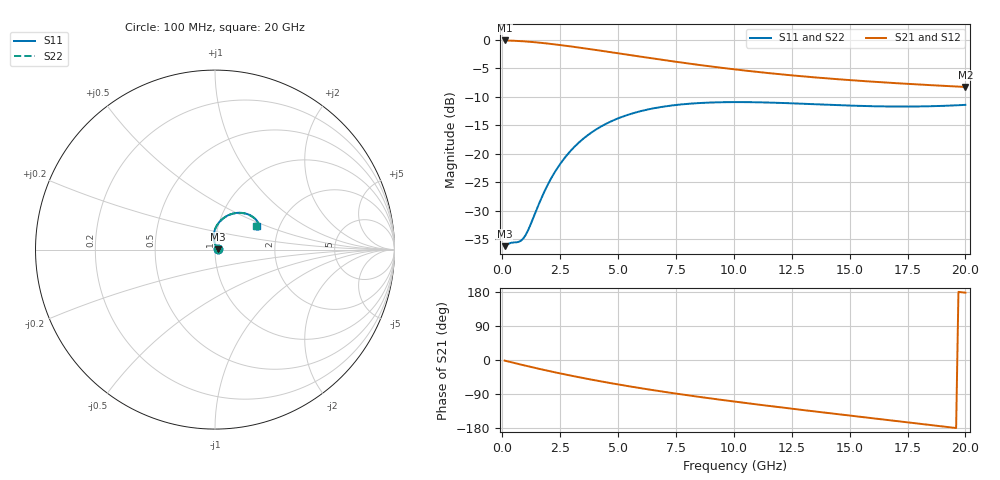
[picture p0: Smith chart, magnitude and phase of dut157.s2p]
! Touchstone file exported from HFSS 2024.1.0
!  File:  C:/UserFiles/LocalFiles/RDL_TSV_Batchsim/temp_RDL_TSV_157_1779433399.aedt
!  Generated:  03:21:00 PM May 22, 2026
!  Design:  RDL_TSV
!  Project:  temp_RDL_TSV_157_1779433399
!  Setup:  Setup1
!  Solution:  Sweep
! Variables:
!  dtsv = 6.52um
!  hbump = 3um
!  htsv = 98.33um
!  ldown = 412.06um
!  lrdl = 274.58um
!  p = 40
!  p1 = 44.89um
!  rhole = 10um
!  subl = 2334.5um
!  t = 450um
!  tdown = 2.64um
!  trdl = 3.55um
!  viad = 10um
!  wdown = 20.18um
!  wrdl = 20.6um
!  xbump = 18um
# GHz S MA R 50.000000
! Terminal data exported
! Port[1] = TM1_1_T1
! Port[2] = TM1_4_T1
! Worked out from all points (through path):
!   200 points, 100 MHz to 20 GHz, reference 50 ohm
!   highest |S21| = -0.14 dB at 100 MHz (marker M1); lowest = -8.3 dB at 20 GHz (marker M2)
!   group delay of S21, straight-line fit = 24 ps
!   lowest |S11| = -36.2 dB at 100 MHz (marker M3), VSWR 1.03, Z = 51.6 + j0.2 ohm
!   |S11| at or under -10 dB: start of sweep to end of sweep
!   |S22| runs from -36.2 to -11.0 dB; largest |S21 - S12| = 1.5e-14
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0.1  0.01542 7.2  0.9844 -1.6  0.9844 -1.6  0.01542 7.2
! Gamma 0 0 0 0
! Port Impedance 50 0 50 0
0.4  0.01653 23.5  0.9803 -6.1  0.9803 -6.1  0.01654 23.4
0.7  0.0168 41.3  0.9737 -10.6  0.9737 -10.6  0.01681 41.2
0.9  0.01794 56.8  0.9682 -13.5  0.9682 -13.5  0.01795 56.6
1.1  0.02099 71.7  0.9616 -16.4  0.9616 -16.4  0.02097 71.5
1.8  0.04563 95.3  0.9326 -26.2  0.9326 -26.2  0.04549 95.2
2.2  0.0653 96.3  0.9129 -31.5  0.9129 -31.5  0.06508 96.2
2.5  0.08122 94.9  0.8972 -35.4  0.8972 -35.4  0.08094 94.8
2.8  0.09756 92.6  0.8811 -39.2  0.8811 -39.2  0.09722 92.5
3.5  0.1353 85.4  0.8423 -47.7  0.8423 -47.7  0.1348 85.4
4.2  0.17 77.7  0.8034 -55.8  0.8034 -55.8  0.1694 77.7
4.9  0.2001 70.3  0.7653 -63.4  0.7653 -63.4  0.1994 70.2
5.8  0.2309 61.5  0.7186 -72.6  0.7186 -72.6  0.2301 61.5
6.8  0.2555 53.1  0.6706 -82.3  0.6706 -82.3  0.2545 53.0
8.4  0.2771 42.3  0.604 -96.4  0.604 -96.4  0.276 42.2
10.1  0.2834 34.0  0.5469 -110.3  0.5469 -110.3  0.2822 34.0
11.7  0.28 28.8  0.5043 -122.5  0.5043 -122.5  0.2788 28.8
13.4  0.272 25.8  0.4686 -135.1  0.4686 -135.1  0.2707 25.8
15  0.2641 24.9  0.4419 -146.6  0.4419 -146.6  0.2629 25.0
16.7  0.2592 25.8  0.419 -158.8  0.419 -158.8  0.258 25.9
18.3  0.26 27.7  0.401 -170.2  0.401 -170.2  0.259 27.8
20  0.2679 29.9  0.3847 177.6  0.3847 177.6  0.2669 30.0
